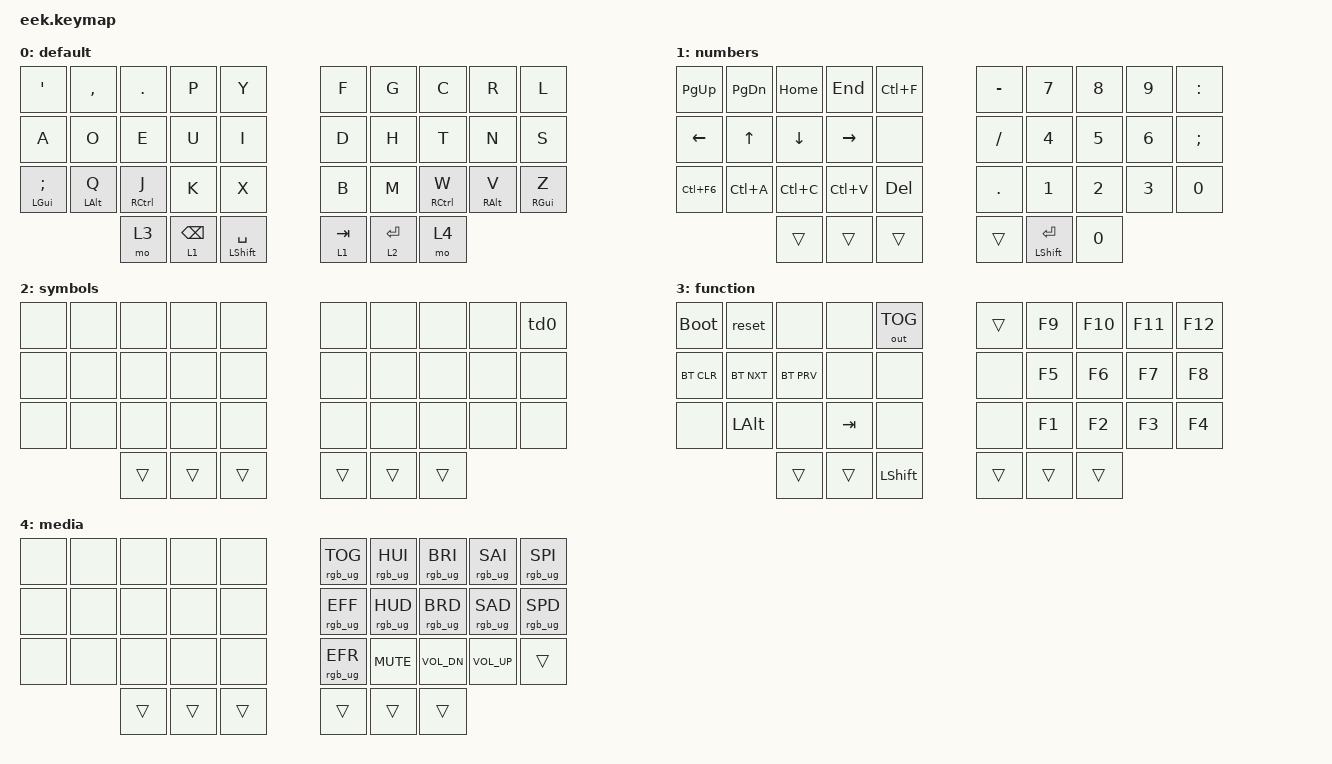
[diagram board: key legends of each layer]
/*
 * Copyright (c) 2020 The ZMK Contributors
 *
 * SPDX-License-Identifier: MIT
 */

#include <behaviors.dtsi>
#include <dt-bindings/zmk/keys.h>
#include <dt-bindings/zmk/bt.h>
#include <dt-bindings/zmk/rgb.h>
#include <dt-bindings/zmk/outputs.h>

#define DEFAULT 0
#define NUMB   1
#define SYMB   2
#define FUNC   3
#define MDIA   4

#define ALL_LYR 0 1 2 3 4

#define COMBO(NAME, BINDINGS, KEYPOS, TERM, LAYERS) \
        combo_##NAME { \
            timeout-ms = <TERM>; \
            bindings = <BINDINGS>; \
            key-positions = <KEYPOS>; \
            layers = <LAYERS>; \
        };

/ {
    /*                KEY POSITIONS

  ╭────────────────────╮ ╭────────────────────╮
  │  0   1   2   3   4 │ │  5   6   7   8   9 │
  │ 10  11  12  13  14 │ │ 15  16  17  18  19 │
  │ 20  21  22  23  24 │ │ 25  26  27  28  29 │
  ╰────────╮29  30  31 │ │ 32  33  34╭────────╯
           ╰───────────╯ ╰───────────╯            */
    combos {
        compatible = "zmk,combos";
        COMBO(cexclaim,  &kp EXCL,    2 3,      50, DEFAULT)
        COMBO(combo_esc, &kp ESC,     0 1,      50, DEFAULT)
        COMBO(cquestion, &kp QMARK,   1 2,      50, DEFAULT)
        COMBO(c_dqt,     &kp DQT,     0 11,     50, DEFAULT)
        COMBO(c_at,      &kp AT,      1 10,     50, DEFAULT)
        COMBO(cpound,    &kp HASH,    2 11,     50, DEFAULT)
        COMBO(cdollar,   &kp DLLR,    3 12,     50, DEFAULT)
        COMBO(cpercent,  &kp PRCNT,   4 13,     50, DEFAULT)
        COMBO(c_amp,     &kp AMPS,    13 14,    50, DEFAULT)

        COMBO(clbrace,   &kp LBRC,    10 11,    50, DEFAULT)
        COMBO(crbrace,   &kp RBRC,    10 12,    50, DEFAULT)

        COMBO(clbrak,    &kp LBKT,    11 12,    50, DEFAULT)
        COMBO(crbrak,    &kp RBKT,    10 13,    50, DEFAULT)
        
        COMBO(c_lpar,    &kp LPAR,    11 13,    50, DEFAULT)
        COMBO(c_rpar,    &kp RPAR,    12 13,    50, DEFAULT)
        
        COMBO(ccaret,    &kp CARET,   10 23,    50, DEFAULT)
        COMBO(c_tild,    &kp LS(GRAVE), 11 23,  50, DEFAULT)
        COMBO(c_grv,     &kp GRAVE,   12 23,    50, DEFAULT)

        COMBO(c_min,     &kp MINUS,   5 6,      50, DEFAULT)
        COMBO(c_pipe,    &kp PIPE,    6 7,      50, DEFAULT)
        COMBO(c_under,   &kp UNDER,   7 8,      50, DEFAULT)
        COMBO(c_bslh,    &kp BSLH,    6 8,      50, DEFAULT)
        
        COMBO(cplus,     &kp KP_PLUS, 5 16,     50, 1)
        COMBO(cmult,     &kp ASTRK,   15 16,    50, 1)
        COMBO(cequ,      &kp EQUAL,   17 26,    50, 0 1)
    };
    behaviors {
        bl: layertap {
            compatible = "zmk,behavior-hold-tap";
            label = "LAYERTAP";
            #binding-cells = <2>;
            tapping-term-ms = <250>;
            quick_tap_ms = <200>;
            flavor = "tap-preferred";
            bindings = <&lt>, <&kp>;
        };
        td0: tap_dance_0 {
            compatible = "zmk,behavior-tap-dance";
            label = "TAP_DANCE_0";
            #binding-cells = <0>;
            tapping-term-ms = <200>;
            bindings = <&kp N1>, <&kp N2>, <&kp N3>;
        };
    };
    keymap {
        compatible = "zmk,keymap";

        default {
// --------------------------------------------------------------------------------------------------------------------------------------------------------------------
           bindings = <
            &kp SQT       &kp COMMA  &kp DOT     &kp P      &kp Y              &kp F     &kp G     &kp C       &kp R      &kp L
            &kp A         &kp O      &kp E       &kp U      &kp I              &kp D     &kp H     &kp T       &kp N      &kp S
            &mt LGUI SEMI &mt LALT Q &mt RCTRL J &kp K      &kp X              &kp B     &kp M     &mt RCTRL W &mt RALT V &mt RGUI Z
                                     &mo 3       &lt 1 BSPC &mt LSHIFT SPACE   &lt 1 TAB &lt 2 RET &mo 4
            >;
        };
        numbers {
// --------------------------------------------------------------------------------------------------------------------------------------------------------------------
           bindings = <
            &kp PG_UP  &kp PG_DN &kp HOME  &kp END   &kp LC(F)      &kp MINUS  &kp N7         &kp N8 &kp N9 &kp COLON
            &kp LEFT   &kp UP    &kp DOWN  &kp RIGHT &none          &kp FSLH   &kp N4         &kp N5 &kp N6 &kp SEMI
            &kp LC(F6) &kp LC(A) &kp LC(C) &kp LC(V) &kp DEL        &kp DOT    &kp N1         &kp N2 &kp N3 &kp N0
                                 &trans    &trans    &trans         &trans     &mt LSHIFT RET &kp N0
            >;
        };
        symbols {
// --------------------------------------------------------------------------------------------------------------------------------------------------------------------
           bindings = <
            &none       &none      &none    &none  &none      &none    &none     &none &none  &td0
            &none       &none      &none    &none  &none      &none    &none     &none &none  &none
            &none       &none      &none    &none  &none      &none    &none     &none &none  &none
                                   &trans   &trans &trans     &trans   &trans    &trans
           >;
        };
        function {
// -------------------------------------------------------------------------------------------------------------------------------------------------------------------- 
           bindings = <
            &bootloader &reset     &none      &none   &out OUT_TOG  &trans     &kp F9       &kp F10      &kp F11  &kp F12
            &bt BT_CLR  &bt BT_NXT &bt BT_PRV &none   &none         &none      &kp F5       &kp F6       &kp F7   &kp F8
            &none       &kp LALT   &none      &kp TAB &none         &none      &kp F1       &kp F2       &kp F3   &kp F4
                                   &trans     &trans  &kp LSHIFT    &trans     &trans       &trans
           >;
        };
        media {
// --------------------------------------------------------------------------------------------------------------------------------------------------------------------
           bindings = <
            &none  &none   &none   &none  &none       &rgb_ug RGB_TOG &rgb_ug RGB_HUI &rgb_ug RGB_BRI &rgb_ug RGB_SAI &rgb_ug RGB_SPI
            &none  &none   &none   &none  &none       &rgb_ug RGB_EFF &rgb_ug RGB_HUD &rgb_ug RGB_BRD &rgb_ug RGB_SAD &rgb_ug RGB_SPD
            &none  &none   &none   &none  &none       &rgb_ug RGB_EFR &kp C_MUTE      &kp C_VOL_DN    &kp C_VOL_UP    &trans
                           &trans  &trans &trans      &trans          &trans          &trans
           >;
        };
    };
};
